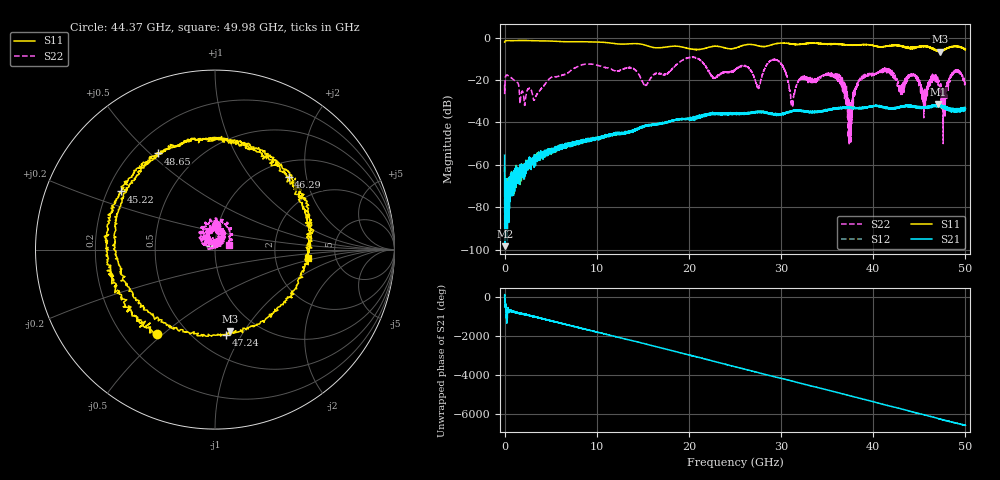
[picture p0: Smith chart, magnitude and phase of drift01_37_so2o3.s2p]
!Created with skrf (http://scikit-rf.org).
# Hz S RI R 50.0
!freq ReS11 ImS11 ReS21 ImS21 ReS12 ImS12 ReS22 ImS22
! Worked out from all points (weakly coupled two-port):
!   10001 points, 300 kHz to 50 GHz, reference 50 ohm
!   highest |S21| = -31.36 dB at 47.05 GHz (marker M1); lowest = -98.4 dB at 25.3 MHz (marker M2)
!   lowest |S11| = -6.7 dB at 47.21 GHz (marker M3), VSWR 2.72, Z = 37.5 - j43.4 ohm
!   |S11| at or under -10 dB: nowhere
!   |S22| runs from -50.5 to -9.2 dB; largest |S21 - S12| = 0.0035
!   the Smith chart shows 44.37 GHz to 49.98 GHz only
!   S11 on the Smith chart (normalised r, x): 44.37 GHz: 0.34, -0.48; 45.22 GHz: 0.26, +0.27; 46.29 GHz: 1.30, +1.58; 47.24 GHz: 0.70, -0.86; 48.65 GHz: 0.30, +0.53; 49.98 GHz: 3.11, -0.42
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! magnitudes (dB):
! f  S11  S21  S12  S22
! 300 kHz  -2.1  -55.5  -60.8  -22.4
! 25.3 MHz  -1.9  -98.4  -77.5  -23.0
! 3.29 GHz  -1.5  -57.9  -58.0  -28.9
! 8.335 GHz  -1.9  -49.1  -49.2  -12.9
! 16.67 GHz  -4.8  -40.8  -40.7  -16.7
! 25 GHz  -5.0  -35.9  -35.8  -15.3
! 29.58 GHz  -2.8  -36.3  -36.1  -10.6
! 31.24 GHz  -3.1  -34.6  -34.6  -31.3
! 33.34 GHz  -2.6  -35.0  -35.3  -19.6
! 36.21 GHz  -3.1  -33.2  -33.1  -20.6
! 37.47 GHz  -3.6  -33.1  -33.0  -37.4
! 38.66 GHz  -3.4  -33.4  -33.1  -20.0
! 41.67 GHz  -3.9  -33.2  -33.3  -16.1
! 44.37 GHz  -4.9  -32.9  -32.4  -17.3
! 45.22 GHz  -4.2  -33.1  -33.1  -23.6
! 46.29 GHz  -4.8  -32.4  -32.5  -19.8
! 47.05 GHz  -6.4  -31.4  -31.8  -22.2
! 47.21 GHz  -6.7  -32.0  -32.4  -24.6
! 47.24 GHz  -6.4  -31.9  -32.2  -26.0
! 48.65 GHz  -4.1  -34.3  -34.5  -17.1
! 49.98 GHz  -5.7  -33.1  -33.2  -21.6
! 50 GHz  -5.5  -33.5  -33.4  -21.7
